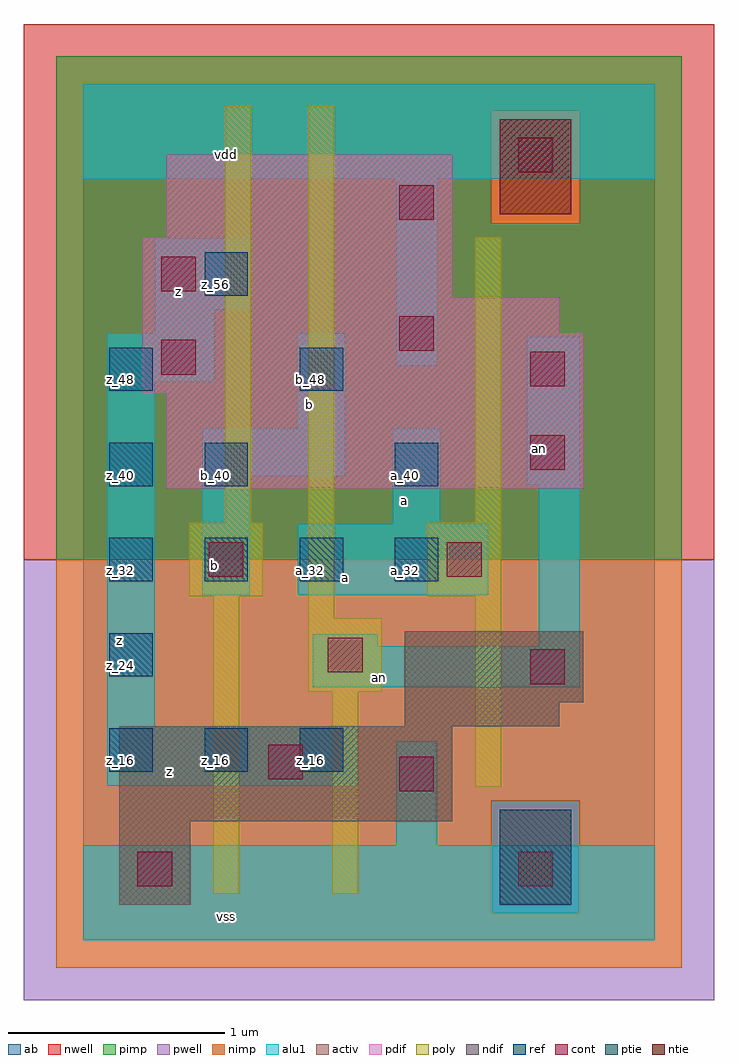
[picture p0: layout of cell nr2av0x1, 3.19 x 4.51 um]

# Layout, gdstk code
import gdstk
lib = gdstk.Library(unit=1e-6, precision=2.5e-09)
def R(c, l, rs):  # rectangles x0, y0, x1, y1
    for r in rs: c.add(gdstk.rectangle(r[:2], r[2:], *l))
def A(c, l, x, y, w, h, nx, ny, dx, dy):  # array of equal rectangles
    R(c, l, [(x+i*dx, y+j*dy, x+i*dx+w, y+j*dy+h) for i in range(nx) for j in range(ny)])
ndif = (3, 0)
pdif = (4, 0)
ntie = (5, 0)
ptie = (6, 0)
ref = (24, 0)
cont = (25, 0)
pwell = (41, 0)
nwell = (42, 0)
activ = (43, 0)
pimp = (44, 0)
nimp = (45, 0)
poly = (46, 0)
alu1 = (49, 0)
ab = (63, 0)

nr2av0x1 = lib.new_cell('nr2av0x1')
R(nr2av0x1, ndif, [(0.165,0.165,0.495,0.55), (0.165,0.55,1.705,0.99), (1.485,0.99,2.2,1.1), (1.485,1.1,2.31,1.43)])
R(nr2av0x1, pdif, [(0.385,2.09,2.31,2.53), (0.275,2.53,2.31,2.805), (0.275,2.805,2.2,2.97), (0.275,2.97,1.705,3.245), (0.385,3.245,1.705,3.63)])
R(nr2av0x1, ntie, [(1.925,3.355,2.255,3.795)])
R(nr2av0x1, ptie, [(1.925,0.165,2.255,0.605)])
A(nr2av0x1, ref, 0.12, 0.78, 0.2, 0.2, 3, 1, 0.44, 0)
A(nr2av0x1, ref, 0.12, 1.66, 0.2, 0.2, 4, 1, 0.44, 0)
R(nr2av0x1, ref, [(0.12,1.22,0.32,1.42), (0.12,2.1,0.32,2.3), (0.56,2.1,0.76,2.3), (1.44,2.1,1.64,2.3), (0.12,2.54,0.32,2.74), (1,2.54,1.2,2.74), (0.56,2.98,0.76,3.18)])
R(nr2av0x1, cont, [(0.25,0.25,0.41,0.41), (2.01,0.25,2.17,0.41), (1.46,0.69,1.62,0.85), (0.855,0.745,1.015,0.905), (2.065,1.185,2.225,1.345), (1.13,1.24,1.29,1.4), (0.58,1.68,0.74,1.84), (1.68,1.68,1.84,1.84), (2.065,2.175,2.225,2.335), (2.065,2.56,2.225,2.72), (0.36,2.615,0.52,2.775), (1.46,2.725,1.62,2.885), (0.36,3,0.52,3.16), (1.46,3.33,1.62,3.49), (2.01,3.55,2.17,3.71)])
R(nr2av0x1, pwell, [(-0.275,-0.275,2.915,1.76)])
R(nr2av0x1, nwell, [(-0.275,1.76,2.915,4.235)])
R(nr2av0x1, activ, [(0.165,0.165,0.495,0.55), (1.925,0.165,2.255,0.605), (0.165,0.55,1.705,0.99), (1.485,0.99,2.2,1.1), (1.485,1.1,2.31,1.43), (0.385,2.09,2.31,2.53), (0.275,2.53,2.31,2.805), (0.275,2.805,2.2,2.97), (0.275,2.97,1.705,3.245), (0.385,3.245,1.705,3.63), (1.925,3.355,2.255,3.795)])
R(nr2av0x1, pimp, [(1.885,0.125,2.295,0.645), (-0.125,1.76,2.765,3.315), (-0.125,3.315,1.885,3.835), (2.295,3.315,2.765,3.835), (-0.125,3.835,2.765,4.085)])
R(nr2av0x1, nimp, [(-0.125,-0.125,2.765,0.125), (-0.125,0.125,1.885,0.645), (2.295,0.125,2.765,0.645), (-0.125,0.645,2.765,1.76), (1.885,3.315,2.295,3.835)])
R(nr2av0x1, poly, [(0.6,0.215,0.72,1.59), (1.15,0.215,1.27,1.15), (1.81,0.71,1.93,1.59), (1.04,1.15,1.38,1.49), (1.04,1.49,1.16,3.855), (0.49,1.59,0.83,1.93), (1.59,1.59,1.93,1.93), (0.655,1.93,0.775,3.855), (1.81,1.93,1.93,3.25)])
R(nr2av0x1, alu1, [(0,0,2.64,0.44), (1.445,0.44,1.635,0.92), (0.11,0.715,1.265,0.99), (0.11,0.99,0.33,2.585), (1.06,1.17,2.295,1.36), (1.06,1.36,1.36,1.415), (2.105,1.36,2.295,2.105), (0.55,1.595,0.77,2.145), (0.99,1.595,1.87,1.925), (1.43,1.925,1.65,2.365), (2.05,2.105,2.295,2.79), (0.55,2.145,1.21,2.365), (0.99,2.365,1.21,2.805), (0.11,2.585,0.605,2.805), (1.445,2.655,1.635,3.52), (0.33,2.805,0.605,2.915), (0.33,2.915,0.77,3.245), (0,3.52,2.64,3.96)])
R(nr2av0x1, ab, [(0,0,2.64,3.96)])
nr2av0x1.add(gdstk.Label('vss', (0.66,0.11), layer=49, texttype=0))
nr2av0x1.add(gdstk.Label('z', (0.3975,0.7825), layer=49, texttype=0))
nr2av0x1.add(gdstk.Label('an', (1.3675,1.2175), layer=49, texttype=0))
nr2av0x1.add(gdstk.Label('a', (1.21,1.6775), layer=49, texttype=0))
nr2av0x1.add(gdstk.Label('an', (2.11,2.275), layer=49, texttype=0))
nr2av0x1.add(gdstk.Label('a', (1.485,2.035), layer=49, texttype=0))
nr2av0x1.add(gdstk.Label('b', (0.605,1.7325), layer=49, texttype=0))
nr2av0x1.add(gdstk.Label('b', (1.045,2.475), layer=49, texttype=0))
nr2av0x1.add(gdstk.Label('z', (0.165,1.3875), layer=49, texttype=0))
nr2av0x1.add(gdstk.Label('z', (0.44,2.9975), layer=49, texttype=0))
nr2av0x1.add(gdstk.Label('vdd', (0.66,3.63), layer=49, texttype=0))
nr2av0x1.add(gdstk.Label('z_16', (0.61,0.83), layer=24, texttype=0))
nr2av0x1.add(gdstk.Label('b_32', (0.61,1.71), layer=24, texttype=0))
nr2av0x1.add(gdstk.Label('b_40', (0.61,2.15), layer=24, texttype=0))
nr2av0x1.add(gdstk.Label('z_56', (0.61,3.03), layer=24, texttype=0))
nr2av0x1.add(gdstk.Label('z_16', (1.05,0.83), layer=24, texttype=0))
nr2av0x1.add(gdstk.Label('a_32', (1.05,1.71), layer=24, texttype=0))
nr2av0x1.add(gdstk.Label('b_48', (1.05,2.59), layer=24, texttype=0))
nr2av0x1.add(gdstk.Label('a_32', (1.49,1.71), layer=24, texttype=0))
nr2av0x1.add(gdstk.Label('a_40', (1.49,2.15), layer=24, texttype=0))
nr2av0x1.add(gdstk.Label('z_16', (0.17,0.83), layer=24, texttype=0))
nr2av0x1.add(gdstk.Label('z_24', (0.17,1.27), layer=24, texttype=0))
nr2av0x1.add(gdstk.Label('z_32', (0.17,1.71), layer=24, texttype=0))
nr2av0x1.add(gdstk.Label('z_40', (0.17,2.15), layer=24, texttype=0))
nr2av0x1.add(gdstk.Label('z_48', (0.17,2.59), layer=24, texttype=0))

lib.write_gds('nr2av0x1.gds')
